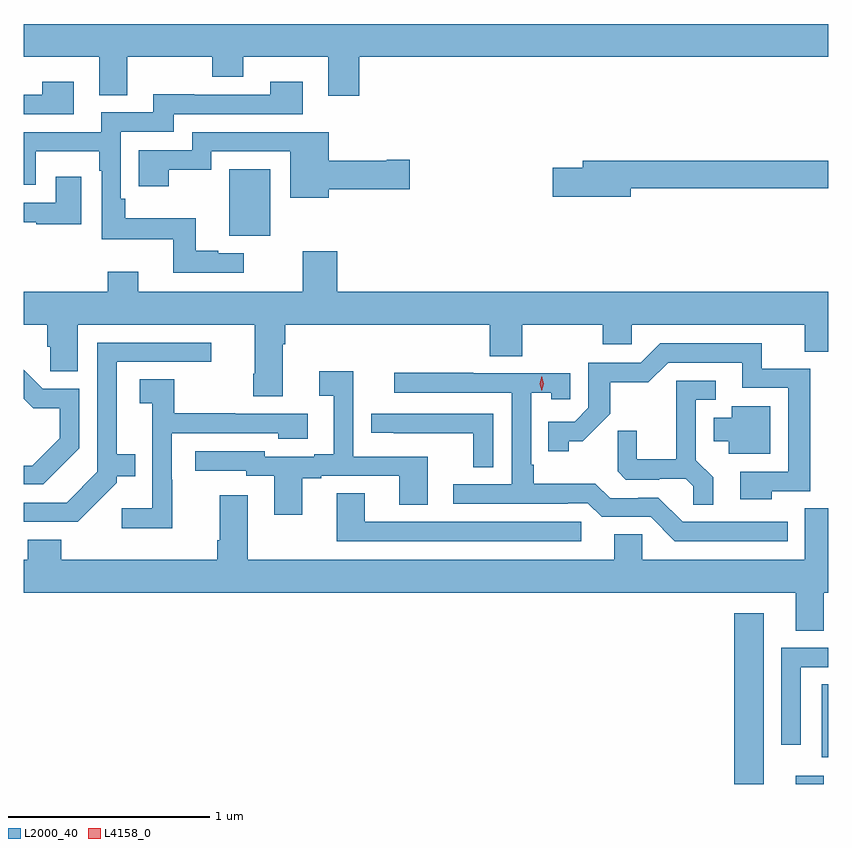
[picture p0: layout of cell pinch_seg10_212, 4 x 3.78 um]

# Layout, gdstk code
import gdstk
lib = gdstk.Library(unit=1e-6, precision=1e-09)
def R(c, l, rs):  # rectangles x0, y0, x1, y1
    for r in rs: c.add(gdstk.rectangle(r[:2], r[2:], *l))
def P(c, l, *ps):  # polygons
    for p in ps: c.add(gdstk.Polygon(p, *l))
L2000_40 = (2000, 40)
L4158_0 = (4158, 0)

pinch_seg10_212 = lib.new_cell('pinch_seg10_212')
R(pinch_seg10_212, L2000_40, [(642.872,1312.684,643.018,1313.533), (643.178,1312.684,643.318,1312.726), (643.307,1312.818,643.339,1313.18), (640.361,1315.412,640.564,1315.741)])
P(pinch_seg10_212, L2000_40, [(641.006,1316.3),(643.339,1316.3),(643.339,1316.464),(639.339,1316.464),(639.339,1316.3),(639.713,1316.3),(639.713,1316.11),(639.853,1316.11),(639.853,1316.3),(640.276,1316.3),(640.276,1316.201),(640.431,1316.201),(640.431,1316.3),(640.853,1316.3),(640.853,1316.106),(641.006,1316.106)],
  [(639.586,1316.176),(639.43,1316.176),(639.43,1316.112),(639.339,1316.112),(639.339,1316.016),(639.586,1316.016)],
  [(640.432,1315.323),(640.305,1315.323),(640.305,1315.336),(640.195,1315.336),(640.195,1315.498),(639.842,1315.498),(639.842,1315.594),(639.822,1315.594),(639.822,1315.929),(640.084,1315.929),(640.084,1316.016),(640.726,1316.016),(640.726,1316.176),(640.565,1316.176),(640.565,1316.112),(640.187,1316.112),(640.187,1316.114),(639.983,1316.114),(639.983,1316.025),(639.725,1316.025),(639.725,1315.926),(639.339,1315.926),(639.339,1315.664),(639.397,1315.664),(639.397,1315.83),(639.714,1315.83),(639.714,1315.733),(639.726,1315.733),(639.726,1315.394),(640.082,1315.394),(640.082,1315.227),(640.432,1315.227)],
  [(640.855,1315.643),(641.257,1315.643),(641.257,1315.79),(641.144,1315.79),(641.144,1315.785),(640.855,1315.785),(640.855,1315.926),(640.176,1315.926),(640.176,1315.836),(639.911,1315.836),(639.911,1315.656),(640.059,1315.656),(640.059,1315.738),(640.272,1315.738),(640.272,1315.83),(640.664,1315.83),(640.664,1315.601),(640.855,1315.601)],
  [(642.358,1315.648),(643.339,1315.648),(643.339,1315.784),(642.119,1315.784),(642.119,1315.748),(641.97,1315.748),(641.97,1315.606),(642.358,1315.606)],
  [(639.625,1315.705),(639.497,1315.705),(639.497,1315.575),(639.339,1315.575),(639.339,1315.479),(639.401,1315.479),(639.401,1315.467),(639.625,1315.467)],
  [(640.627,1314.872),(640.64,1314.872),(640.64,1314.968),(641.657,1314.968),(641.657,1314.811),(641.817,1314.811),(641.817,1314.968),(642.217,1314.968),(642.217,1314.87),(642.363,1314.87),(642.363,1314.968),(643.223,1314.968),(643.223,1314.835),(643.339,1314.835),(643.339,1315.132),(640.898,1315.132),(640.898,1315.333),(640.726,1315.333),(640.726,1315.132),(639.907,1315.132),(639.907,1315.231),(639.755,1315.231),(639.755,1315.132),(639.339,1315.132),(639.339,1314.968),(639.455,1314.968),(639.455,1314.858),(639.469,1314.858),(639.469,1314.736),(639.607,1314.736),(639.607,1314.968),(640.487,1314.968),(640.487,1314.724),(640.48,1314.724),(640.48,1314.612),(640.627,1314.612)],
  [(639.801,1314.183),(639.801,1314.215),(639.893,1314.215),(639.893,1314.325),(639.802,1314.325),(639.802,1314.783),(640.27,1314.783),(640.27,1314.879),(639.705,1314.879),(639.705,1314.237),(639.552,1314.084),(639.339,1314.084),(639.339,1313.988),(639.606,1313.988)],
  [(643.059,1314.141),(643.249,1314.141),(643.249,1314.75),(643.01,1314.75),(643.01,1314.876),(642.504,1314.876),(642.408,1314.78),(642.147,1314.78),(642.147,1314.555),(642.078,1314.486),(641.947,1314.486),(641.947,1314.339),(642.048,1314.339),(642.048,1314.389),(642.118,1314.389),(642.256,1314.526),(642.256,1314.682),(642.445,1314.682),(642.543,1314.78),(642.911,1314.78),(642.911,1314.654),(643.14,1314.654),(643.14,1314.237),(642.903,1314.237),(642.903,1314.101),(643.059,1314.101)],
  [(639.615,1314.353),(639.615,1314.651),(639.432,1314.651),(639.339,1314.744),(639.339,1314.6),(639.385,1314.554),(639.518,1314.554),(639.518,1314.404),(639.381,1314.267),(639.339,1314.267),(639.339,1314.174),(639.436,1314.174)],
  [(640.723,1314.204),(640.819,1314.204),(640.819,1314.216),(641.207,1314.216),(641.207,1314.073),(641.347,1314.073),(641.347,1314.312),(640.977,1314.312),(640.977,1314.736),(640.809,1314.736),(640.809,1314.616),(640.88,1314.616),(640.88,1314.325),(640.784,1314.325),(640.784,1314.312),(640.536,1314.312),(640.536,1314.339),(640.191,1314.339),(640.191,1314.243),(640.446,1314.243),(640.446,1314.216),(640.583,1314.216),(640.583,1314.024),(640.723,1314.024)],
  [(643.138,1313.988),(642.615,1313.988),(642.495,1314.108),(642.394,1314.108),(642.394,1314.105),(642.255,1314.105),(642.182,1314.178),(641.875,1314.178),(641.875,1314.271),(641.862,1314.271),(641.862,1314.629),(641.961,1314.629),(641.961,1314.597),(642.057,1314.597),(642.057,1314.726),(641.573,1314.726),(641.573,1314.729),(641.181,1314.729),(641.181,1314.63),(641.766,1314.63),(641.766,1314.174),(641.475,1314.174),(641.475,1314.078),(642.044,1314.078),(642.044,1314.081),(642.144,1314.081),(642.213,1314.012),(642.456,1314.012),(642.576,1313.892),(643.138,1313.892)],
  [(640.077,1314.197),(640.074,1314.197),(640.074,1314.429),(640.605,1314.429),(640.605,1314.401),(640.75,1314.401),(640.75,1314.525),(640.391,1314.525),(640.391,1314.528),(640.087,1314.528),(640.087,1314.698),(639.915,1314.698),(639.915,1314.577),(639.978,1314.577),(639.978,1314.055),(639.825,1314.055),(639.825,1313.957),(640.077,1313.957)],
  [(642.767,1314.209),(642.681,1314.295),(642.681,1314.594),(642.781,1314.594),(642.781,1314.69),(642.584,1314.69),(642.584,1314.298),(642.386,1314.298),(642.386,1314.441),(642.292,1314.441),(642.292,1314.239),(642.333,1314.198),(642.498,1314.198),(642.498,1314.201),(642.632,1314.201),(642.669,1314.164),(642.669,1314.073),(642.767,1314.073)],
  [(643.051,1314.562),(642.86,1314.562),(642.86,1314.505),(642.77,1314.505),(642.77,1314.389),(642.845,1314.389),(642.845,1314.326),(643.051,1314.326)],
  [(641.673,1314.525),(641.067,1314.525),(641.067,1314.43),(641.179,1314.43),(641.179,1314.429),(641.575,1314.429),(641.575,1314.259),(641.673,1314.259)],
  [(642.112,1313.988),(641.035,1313.988),(641.035,1314.131),(640.895,1314.131),(640.895,1313.892),(642.112,1313.892)],
  [(643.318,1313.636),(643.339,1313.636),(643.339,1314.056),(643.223,1314.056),(643.223,1313.8),(642.414,1313.8),(642.414,1313.927),(642.275,1313.927),(642.275,1313.8),(640.453,1313.8),(640.453,1314.121),(640.313,1314.121),(640.313,1313.896),(640.301,1313.896),(640.301,1313.8),(639.524,1313.8),(639.524,1313.899),(639.359,1313.899),(639.359,1313.8),(639.339,1313.8),(639.339,1313.636),(643.178,1313.636),(643.178,1313.446),(643.318,1313.446)],
  [(643.203,1313.265),(643.339,1313.265),(643.339,1313.361),(643.107,1313.361),(643.107,1312.878),(643.203,1312.878)])
P(pinch_seg10_212, L4158_0, [(641.914,1314.639),(641.914,1314.639),(641.904,1314.675),(641.914,1314.711),(641.914,1314.711),(641.915,1314.711),(641.924,1314.675),(641.915,1314.639)])

lib.write_gds('pinch_seg10_212.gds')
